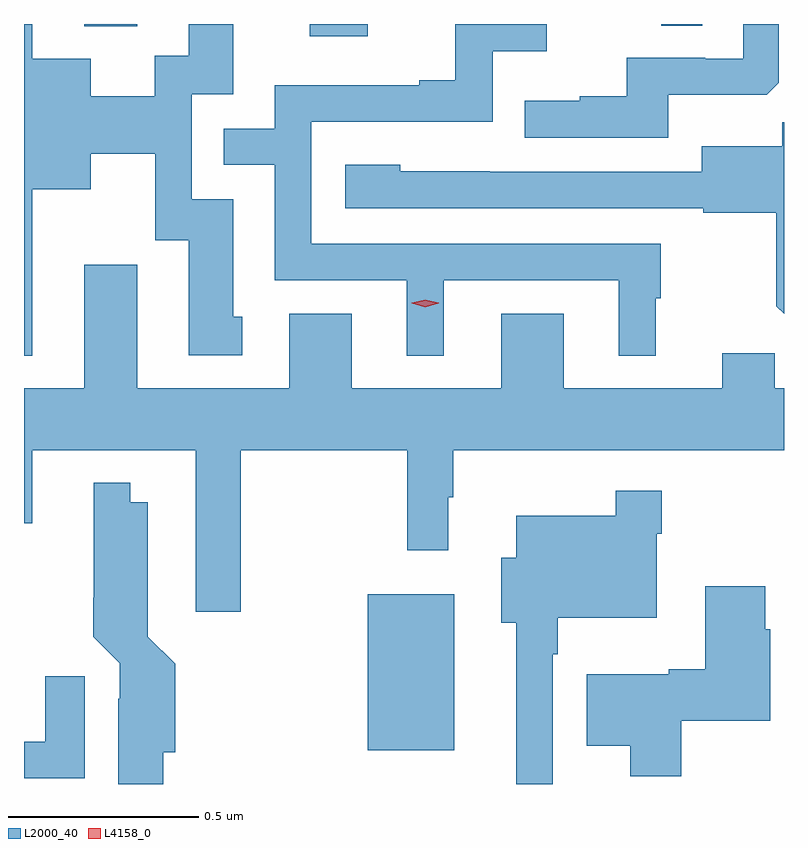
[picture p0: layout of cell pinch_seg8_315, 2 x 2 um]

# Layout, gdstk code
import gdstk
lib = gdstk.Library(unit=1e-6, precision=1e-09)
def R(c, l, rs):  # rectangles x0, y0, x1, y1
    for r in rs: c.add(gdstk.rectangle(r[:2], r[2:], *l))
def P(c, l, *ps):  # polygons
    for p in ps: c.add(gdstk.Polygon(p, *l))
L2000_40 = (2000, 40)
L4158_0 = (4158, 0)

pinch_seg8_315 = lib.new_cell('pinch_seg8_315')
R(pinch_seg8_315, L2000_40, [(535.418,1147.679,535.645,1148.089), (535.265,1149.558,535.417,1149.59), (534.671,1149.584,534.811,1149.59), (536.19,1149.586,536.298,1149.59)])
P(pinch_seg8_315, L2000_40, [(536.209,1149.404),(536.467,1149.404),(536.499,1149.435),(536.499,1149.59),(536.406,1149.59),(536.406,1149.498),(536.306,1149.498),(536.306,1149.501),(536.099,1149.501),(536.099,1149.4),(535.975,1149.4),(535.975,1149.388),(535.831,1149.388),(535.831,1149.291),(536.209,1149.291)],
  [(534.535,1149.155),(534.688,1149.155),(534.688,1149.248),(534.858,1149.248),(534.858,1149.021),(534.947,1149.021),(534.947,1148.718),(535.087,1148.718),(535.087,1148.82),(535.063,1148.82),(535.063,1149.129),(534.954,1149.129),(534.954,1149.405),(535.063,1149.405),(535.063,1149.59),(534.947,1149.59),(534.947,1149.506),(534.857,1149.506),(534.857,1149.4),(534.688,1149.4),(534.688,1149.499),(534.535,1149.499),(534.535,1149.59),(534.513,1149.59),(534.513,1148.717),(534.535,1148.717)],
  [(535.618,1148.916),(536.078,1148.916),(536.078,1148.717),(536.176,1148.717),(536.176,1148.868),(536.188,1148.868),(536.188,1149.012),(535.269,1149.012),(535.269,1149.333),(535.746,1149.333),(535.746,1149.518),(535.888,1149.518),(535.888,1149.59),(535.648,1149.59),(535.648,1149.442),(535.553,1149.442),(535.553,1149.429),(535.173,1149.429),(535.173,1149.315),(535.039,1149.315),(535.039,1149.219),(535.173,1149.219),(535.173,1148.916),(535.52,1148.916),(535.52,1148.717),(535.618,1148.717)],
  [(536.513,1149.332),(536.508,1149.332),(536.508,1149.268),(536.297,1149.268),(536.297,1149.201),(535.739,1149.201),(535.739,1149.202),(535.503,1149.202),(535.503,1149.22),(535.359,1149.22),(535.359,1149.105),(536.301,1149.105),(536.301,1149.093),(536.493,1149.093),(536.493,1148.847),(536.513,1148.827)],
  [(535.083,1148.468),(535.521,1148.468),(535.521,1148.205),(535.63,1148.205),(535.63,1148.345),(535.642,1148.345),(535.642,1148.468),(536.513,1148.468),(536.513,1148.632),(536.489,1148.632),(536.489,1148.723),(536.351,1148.723),(536.351,1148.632),(535.933,1148.632),(535.933,1148.827),(535.769,1148.827),(535.769,1148.632),(535.375,1148.632),(535.375,1148.827),(535.211,1148.827),(535.211,1148.632),(534.811,1148.632),(534.811,1148.956),(534.671,1148.956),(534.671,1148.632),(534.513,1148.632),(534.513,1148.276),(534.535,1148.276),(534.535,1148.468),(534.965,1148.468),(534.965,1148.043),(535.083,1148.043)],
  [(534.88,1147.674),(534.911,1147.674),(534.911,1147.906),(534.839,1147.978),(534.839,1148.077),(534.838,1148.077),(534.838,1148.332),(534.793,1148.332),(534.793,1148.383),(534.696,1148.383),(534.696,1148.08),(534.695,1148.08),(534.695,1147.978),(534.765,1147.908),(534.765,1147.814),(534.761,1147.814),(534.761,1147.59),(534.88,1147.59)],
  [(535.905,1147.931),(535.918,1147.931),(535.918,1148.027),(536.178,1148.027),(536.178,1148.249),(536.191,1148.249),(536.191,1148.362),(536.07,1148.362),(536.07,1148.296),(535.808,1148.296),(535.808,1148.185),(535.769,1148.185),(535.769,1148.015),(535.808,1148.015),(535.808,1147.59),(535.905,1147.59)],
  [(536.243,1147.757),(536.477,1147.757),(536.477,1147.997),(536.464,1147.997),(536.464,1148.11),(536.306,1148.11),(536.306,1147.892),(536.21,1147.892),(536.21,1147.879),(535.994,1147.879),(535.994,1147.691),(536.108,1147.691),(536.108,1147.61),(536.243,1147.61)],
  [(534.673,1147.873),(534.569,1147.873),(534.569,1147.701),(534.513,1147.701),(534.513,1147.605),(534.673,1147.605)])
P(pinch_seg8_315, L4158_0, [(535.569,1148.845),(535.533,1148.855),(535.533,1148.855),(535.533,1148.856),(535.569,1148.865),(535.605,1148.856),(535.605,1148.855),(535.605,1148.855)])

lib.write_gds('pinch_seg8_315.gds')
